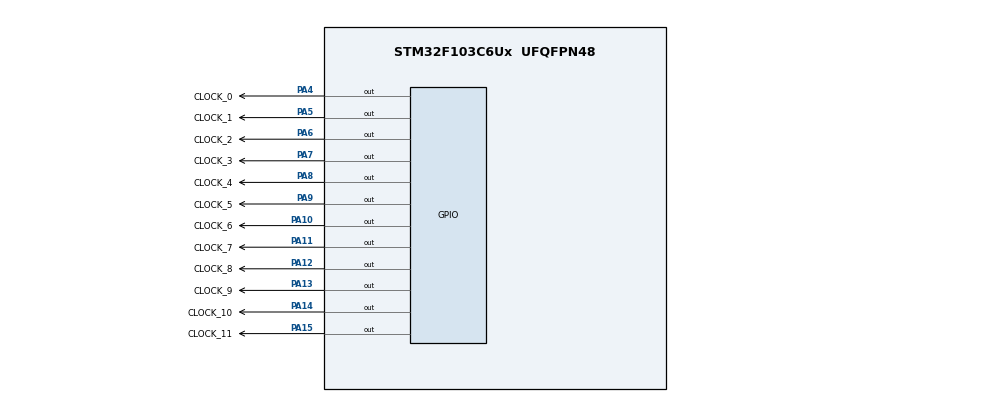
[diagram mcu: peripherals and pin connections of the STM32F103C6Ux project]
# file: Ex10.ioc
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Mcu.Family=STM32F1
Mcu.Name=STM32F103C6Ux
Mcu.Package=UFQFPN48
NVIC.PriorityGroup=NVIC_PRIORITYGROUP_4
PA10.GPIO_Label=CLOCK_6
PA10.Signal=GPIO_Output
PA11.GPIO_Label=CLOCK_7
PA11.Signal=GPIO_Output
PA12.GPIO_Label=CLOCK_8
PA12.Signal=GPIO_Output
PA13.GPIO_Label=CLOCK_9
PA13.Signal=GPIO_Output
PA14.GPIO_Label=CLOCK_10
PA14.Signal=GPIO_Output
PA15.GPIO_Label=CLOCK_11
PA15.Signal=GPIO_Output
PA4.GPIO_Label=CLOCK_0
PA4.Signal=GPIO_Output
PA5.GPIO_Label=CLOCK_1
PA5.Signal=GPIO_Output
PA6.GPIO_Label=CLOCK_2
PA6.Signal=GPIO_Output
PA7.GPIO_Label=CLOCK_3
PA7.Signal=GPIO_Output
PA8.GPIO_Label=CLOCK_4
PA8.Signal=GPIO_Output
PA9.GPIO_Label=CLOCK_5
PA9.Signal=GPIO_Output
ProjectManager.HeapSize=0x200
ProjectManager.StackSize=0x400
ProjectManager.TargetToolchain=STM32CubeIDE
RCC.APB1Freq_Value=8000000
RCC.APB2Freq_Value=8000000
VP_SYS_VS_ND.Mode=No_Debug
board=custom

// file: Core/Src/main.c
/* USER CODE BEGIN Header */
/**
  ******************************************************************************
  * @file           : main.c
  * @brief          : Main program body
  ******************************************************************************
  * @attention
  *
  * <h2><center>&copy; Copyright (c) 2022 STMicroelectronics.
  * All rights reserved.</center></h2>
  *
  * This software component is licensed by ST under BSD 3-Clause license,
  * the "License"; You may not use this file except in compliance with the
  * License. You may obtain a copy of the License at:
  *                        opensource.org/licenses/BSD-3-Clause
  *
  ******************************************************************************
  */
/* USER CODE END Header */
#include "main.h"

void SystemClock_Config(void);
static void MX_GPIO_Init(void);

/* USER CODE BEGIN 0 */

void clearAllClock(){
	GPIOA->ODR &= 0xffff000f;
}

void setNumberOnClock(int num){
	GPIOA->ODR |= 0xffff000f + (0x1 << (num + 4));
}

void clearNumberOnClock(int num){
	GPIOA->ODR &= ~(uint32_t)(0x1 << (num + 4));
}

void displayTime(int hours, int minutes, int seconds){
	setNumberOnClock(hours);
	setNumberOnClock(minutes/5);
	setNumberOnClock(seconds/5);
}
/* USER CODE END 0 */

int main(void)
{

  /* MCU Configuration--------------------------------------------------------*/

  /* Reset of all peripherals, Initializes the Flash interface and the Systick. */
  HAL_Init();

  /* Configure the system clock */
  SystemClock_Config();

  /* Initialize all configured peripherals */
  MX_GPIO_Init();

  /* Infinite loop */
  /* USER CODE BEGIN WHILE */

  /*
   * Set the initial time of clock
   */
    int hours = 7;
    int minutes = 10;
    int seconds = 13;

  /*
   * Reminder of minutes and seconds
   */
    int rem_seconds = 0;
    int rem_minutes = 0;
    while (1)
    {
		displayTime(hours, minutes, seconds);
    	if(seconds == 60){
    		seconds = 0;
    		rem_seconds = 1;
    	}
    	else
    		seconds++;

    	if(minutes == 60){
    		minutes = 0;
    		rem_minutes = 1;
    	}
    	else{
    		minutes += rem_seconds;
    		rem_seconds = 0;
    	}

    	if(hours == 12)
    		hours = 0;
    	else{
    		hours += rem_minutes;
    		rem_minutes = 0;
    	}

    	HAL_Delay(60);
    	clearAllClock();
      /* USER CODE END WHILE */
    }
  }

void SystemClock_Config(void)
{
  RCC_OscInitTypeDef RCC_OscInitStruct = {0};
  RCC_ClkInitTypeDef RCC_ClkInitStruct = {0};

  /** Initializes the RCC Oscillators according to the specified parameters
  * in the RCC_OscInitTypeDef structure.
  */
  RCC_OscInitStruct.OscillatorType = RCC_OSCILLATORTYPE_HSI;
  RCC_OscInitStruct.HSIState = RCC_HSI_ON;
  RCC_OscInitStruct.HSICalibrationValue = RCC_HSICALIBRATION_DEFAULT;
  RCC_OscInitStruct.PLL.PLLState = RCC_PLL_NONE;
  if (HAL_RCC_OscConfig(&RCC_OscInitStruct) != HAL_OK)
  {
    Error_Handler();
  }
  /** Initializes the CPU, AHB and APB buses clocks
  */
  RCC_ClkInitStruct.ClockType = RCC_CLOCKTYPE_HCLK|RCC_CLOCKTYPE_SYSCLK
                              |RCC_CLOCKTYPE_PCLK1|RCC_CLOCKTYPE_PCLK2;
  RCC_ClkInitStruct.SYSCLKSource = RCC_SYSCLKSOURCE_HSI;
  RCC_ClkInitStruct.AHBCLKDivider = RCC_SYSCLK_DIV1;
  RCC_ClkInitStruct.APB1CLKDivider = RCC_HCLK_DIV1;
  RCC_ClkInitStruct.APB2CLKDivider = RCC_HCLK_DIV1;

  if (HAL_RCC_ClockConfig(&RCC_ClkInitStruct, FLASH_LATENCY_0) != HAL_OK)
  {
    Error_Handler();
  }
}

static void MX_GPIO_Init(void)
{
  GPIO_InitTypeDef GPIO_InitStruct = {0};

  /* GPIO Ports Clock Enable */
  __HAL_RCC_GPIOA_CLK_ENABLE();

  /*Configure GPIO pin Output Level */
  HAL_GPIO_WritePin(GPIOA, CLOCK_0_Pin|CLOCK_1_Pin|CLOCK_2_Pin|CLOCK_3_Pin
                          |CLOCK_4_Pin|CLOCK_5_Pin|CLOCK_6_Pin|CLOCK_7_Pin
                          |CLOCK_8_Pin|CLOCK_9_Pin|CLOCK_10_Pin|CLOCK_11_Pin, GPIO_PIN_RESET);

  /*Configure GPIO pins : CLOCK_0_Pin CLOCK_1_Pin CLOCK_2_Pin CLOCK_3_Pin
                           CLOCK_4_Pin CLOCK_5_Pin CLOCK_6_Pin CLOCK_7_Pin
                           CLOCK_8_Pin CLOCK_9_Pin CLOCK_10_Pin CLOCK_11_Pin */
  GPIO_InitStruct.Pin = CLOCK_0_Pin|CLOCK_1_Pin|CLOCK_2_Pin|CLOCK_3_Pin
                          |CLOCK_4_Pin|CLOCK_5_Pin|CLOCK_6_Pin|CLOCK_7_Pin
                          |CLOCK_8_Pin|CLOCK_9_Pin|CLOCK_10_Pin|CLOCK_11_Pin;
  GPIO_InitStruct.Mode = GPIO_MODE_OUTPUT_PP;
  GPIO_InitStruct.Pull = GPIO_NOPULL;
  GPIO_InitStruct.Speed = GPIO_SPEED_FREQ_LOW;
  HAL_GPIO_Init(GPIOA, &GPIO_InitStruct);

}

void Error_Handler(void)
{
  __disable_irq();
  while (1)
  {
  }
}

/************************ (C) COPYRIGHT STMicroelectronics *****END OF FILE****/
